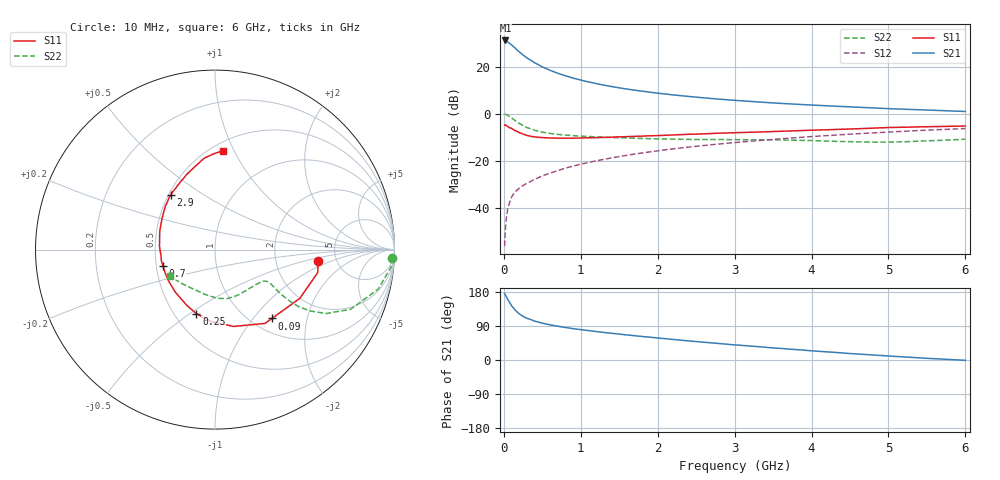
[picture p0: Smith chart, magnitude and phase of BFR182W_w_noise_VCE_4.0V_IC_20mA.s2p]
! Infineon Technologies  Discrete & RF Semiconductors
! BFR182W
! VCE =  4.0 V,  IC =  20 mA
! Common Emitter S-Parameters:  Jan 2017
# GHz  S  MA  R  50
!  f  S11  S21  S12  S22
! GHz  MAG  ANG  MAG  ANG  MAG  ANG  MAG  ANG
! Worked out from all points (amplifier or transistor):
!   77 points, 10 MHz to 6 GHz, reference 50 ohm
!   highest |S21| = 31.4 dB at 20 MHz (marker M1)
!   |S21| within 3 dB of that: start of sweep to 137.8 MHz
!   unconditionally stable (mu >= 1): 840.1 MHz to 2.346 GHz
!   at 130 MHz: K = 0.42, MSG = 31.3 dB, |S12| = -34.0 dB
!   at 2.2 GHz: K = 1.01, MAG = 10.9 dB, |S12| = -14.9 dB
!   at 6 GHz: K = 0.87, MSG = 3.6 dB, |S12| = -6.2 dB
!   lowest NFmin = 1.41 dB at 450 MHz
!   S11 on the Smith chart (normalised r, x): 10 MHz: 3.60, -0.67; 90 MHz: 1.23, -1.25; 250 MHz: 0.64, -0.53; 700 MHz: 0.54, -0.11; 2.9 GHz: 0.51, +0.37; 6 GHz: 0.57, +0.90
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0.01  0.5774 -6.2  36.84 175.5  0.0015 87.3  0.9856 -2.6
0.02  0.5869 -12.5  37.12 171.6  0.0035 98.5  0.9854 -5.7
0.05  0.5451 -29.9  34.8 159.8  0.0093 79.8  0.936 -13.6
0.09  0.4976 -50.4  30.77 146.9  0.0152 70.4  0.8448 -21.6
0.1  0.4967 -55.9  30.04 143.2  0.0167 69.1  0.8249 -23.8
0.15  0.4406 -76.4  25.22 130.9  0.022 65.7  0.7152 -29.9
0.2  0.4008 -92.8  21.22 121.9  0.0259 65.5  0.6285 -32.9
0.25  0.372 -106.1  18.17 115.1  0.0297 63.8  0.5625 -34.3
0.3  0.3483 -116.7  15.71 110.1  0.033 64.1  0.5118 -34.6
0.4  0.3245 -132.6  12.38 102.5  0.04 65.5  0.4478 -34.1
0.5  0.3128 -144.8  10.12 97.2  0.0475 66.5  0.4087 -33.1
0.6  0.3068 -154.6  8.57 92.8  0.0546 67.8  0.3833 -32.3
0.7  0.304 -162.2  7.412 89.2  0.0616 69.3  0.3662 -31.6
0.9  0.3027 -174.3  5.836 82.8  0.077 69.7  0.344 -31.4
1.1  0.3104 176.0  4.837 77.7  0.0921 70.2  0.3303 -32.2
1.5  0.3245 161.7  3.611 68.4  0.1229 69.3  0.3105 -36.0
2.1  0.3502 145.4  2.664 56.2  0.1712 66.4  0.2915 -46.2
2.9  0.3928 128.7  2.011 41.7  0.2362 60.7  0.2833 -64.0
3.1  0.4014 124.9  1.903 38.5  0.2526 59.1  0.2818 -68.3
4.1  0.4545 108.7  1.522 22.9  0.3365 50.5  0.2669 -90.3
5.1  0.5165 95.6  1.28 9.3  0.4187 40.9  0.2522 -122.4
6  0.5525 85.6  1.129 -0.9  0.4885 31.8  0.2891 -149.6
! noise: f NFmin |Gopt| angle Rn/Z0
0.45  1.41  0.11  -176  0.15
0.9  1.49  0.11  -171  0.15
1.9  2  0.28  -142  0.16
2.4  2.26  0.29  -128  0.26
